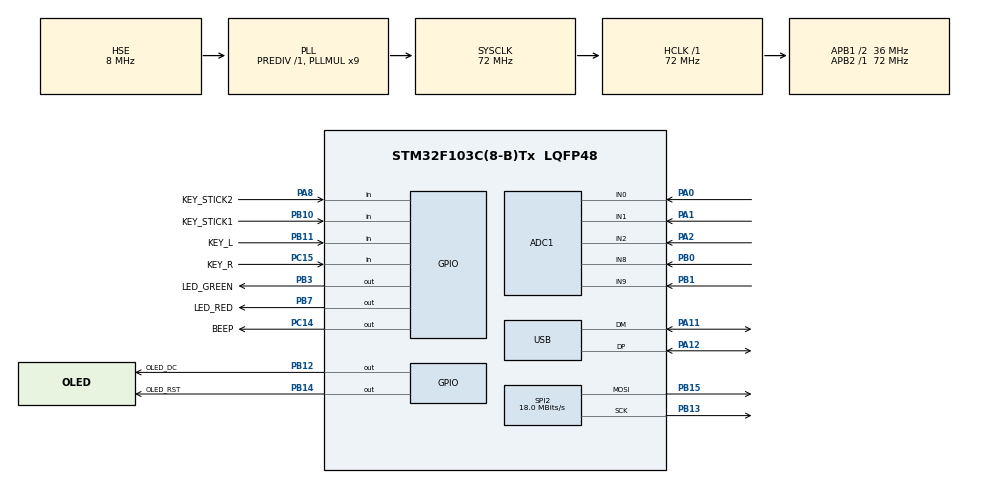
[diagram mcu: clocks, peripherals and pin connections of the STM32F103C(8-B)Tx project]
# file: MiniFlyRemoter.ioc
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ADC1.Channel-0\#ChannelRegularConversion=ADC_CHANNEL_0
ADC1.Channel-1\#ChannelRegularConversion=ADC_CHANNEL_1
ADC1.Channel-2\#ChannelRegularConversion=ADC_CHANNEL_2
ADC1.Channel-3\#ChannelRegularConversion=ADC_CHANNEL_8
ADC1.Channel-4\#ChannelRegularConversion=ADC_CHANNEL_9
ADC1.ContinuousConvMode=DISABLE
ADC1.NbrOfConversion=5
ADC1.NbrOfConversionFlag=1
ADC1.Rank-0\#ChannelRegularConversion=1
ADC1.Rank-1\#ChannelRegularConversion=2
ADC1.Rank-2\#ChannelRegularConversion=3
ADC1.Rank-3\#ChannelRegularConversion=4
ADC1.Rank-4\#ChannelRegularConversion=5
ADC1.SamplingTime-0\#ChannelRegularConversion=ADC_SAMPLETIME_1CYCLE_5
ADC1.SamplingTime-1\#ChannelRegularConversion=ADC_SAMPLETIME_1CYCLE_5
ADC1.SamplingTime-2\#ChannelRegularConversion=ADC_SAMPLETIME_1CYCLE_5
ADC1.SamplingTime-3\#ChannelRegularConversion=ADC_SAMPLETIME_1CYCLE_5
ADC1.SamplingTime-4\#ChannelRegularConversion=ADC_SAMPLETIME_1CYCLE_5
ADC1.master=1
Dma.ADC1.0.Direction=DMA_PERIPH_TO_MEMORY
Dma.ADC1.0.Instance=DMA1_Channel1
Dma.ADC1.0.MemDataAlignment=DMA_MDATAALIGN_HALFWORD
Dma.ADC1.0.MemInc=DMA_MINC_ENABLE
Dma.ADC1.0.Mode=DMA_CIRCULAR
Dma.ADC1.0.PeriphDataAlignment=DMA_PDATAALIGN_HALFWORD
Dma.ADC1.0.PeriphInc=DMA_PINC_DISABLE
Dma.ADC1.0.Priority=DMA_PRIORITY_LOW
Dma.Request0=ADC1
FREERTOS.Tasks01=defaultTask,0,512,StartDefaultTask,Default,NULL,Dynamic,NULL,NULL;KeyScan,0,128,KeyScanTask,Default,NULL,Dynamic,NULL,NULL
Mcu.Family=STM32F1
Mcu.Name=STM32F103C(8-B)Tx
Mcu.Package=LQFP48
NVIC.ADC1_2_IRQn=true\:5\:0\:false\:false\:true\:true\:true\:true\:true
NVIC.DMA1_Channel1_IRQn=true\:5\:0\:false\:false\:true\:true\:false\:true\:true
NVIC.PriorityGroup=NVIC_PRIORITYGROUP_4
NVIC.TIM4_IRQn=true\:15\:0\:false\:false\:true\:false\:false\:true\:true
NVIC.TimeBase=TIM4_IRQn
NVIC.TimeBaseIP=TIM4
NVIC.USB_HP_CAN1_TX_IRQn=true\:5\:0\:false\:false\:true\:true\:true\:true\:true
NVIC.USB_LP_CAN1_RX0_IRQn=true\:5\:0\:false\:false\:true\:true\:false\:true\:true
PA0-WKUP.Signal=ADCx_IN0
PA1.Signal=ADCx_IN1
PA11.Mode=Device
PA11.Signal=USB_DM
PA12.Mode=Device
PA12.Signal=USB_DP
PA13.Mode=Serial_Wire
PA13.Signal=SYS_JTMS-SWDIO
PA14.Mode=Serial_Wire
PA14.Signal=SYS_JTCK-SWCLK
PA2.Signal=ADCx_IN2
PA8.GPIO_Label=KEY_STICK2
PA8.GPIO_PuPd=GPIO_PULLUP
PA8.Signal=GPIO_Input
PB0.Signal=ADCx_IN8
PB1.Signal=ADCx_IN9
PB10.GPIO_Label=KEY_STICK1
PB10.GPIO_PuPd=GPIO_PULLUP
PB10.Signal=GPIO_Input
PB11.GPIO_Label=KEY_L
PB11.GPIO_PuPd=GPIO_PULLUP
PB11.Signal=GPIO_Input
PB12.GPIO_Label=OLED_DC
PB12.GPIO_Speed=GPIO_SPEED_FREQ_HIGH
PB12.Signal=GPIO_Output
PB13.Mode=TX_Only_Simplex_Unidirect_Master
PB13.Signal=SPI2_SCK
PB14.GPIO_Label=OLED_RST
PB14.GPIO_Speed=GPIO_SPEED_FREQ_HIGH
PB14.PinState=GPIO_PIN_SET
PB14.Signal=GPIO_Output
PB15.Mode=TX_Only_Simplex_Unidirect_Master
PB15.Signal=SPI2_MOSI
PB3.GPIO_Label=LED_GREEN
PB3.PinState=GPIO_PIN_SET
PB3.Signal=GPIO_Output
PB7.GPIO_Label=LED_RED
PB7.PinState=GPIO_PIN_SET
PB7.Signal=GPIO_Output
PC14-OSC32_IN.GPIO_Label=BEEP
PC14-OSC32_IN.PinState=GPIO_PIN_RESET
PC14-OSC32_IN.Signal=GPIO_Output
PC15-OSC32_OUT.GPIO_Label=KEY_R
PC15-OSC32_OUT.GPIO_PuPd=GPIO_PULLUP
PC15-OSC32_OUT.Signal=GPIO_Input
PD0-OSC_IN.Mode=HSE-External-Oscillator
PD0-OSC_IN.Signal=RCC_OSC_IN
PD1-OSC_OUT.Mode=HSE-External-Oscillator
PD1-OSC_OUT.Signal=RCC_OSC_OUT
ProjectManager.HeapSize=0x200
ProjectManager.StackSize=0x400
ProjectManager.TargetToolchain=STM32CubeIDE
RCC.ADCPresc=RCC_ADCPCLK2_DIV6
RCC.AHBFreq_Value=72000000
RCC.APB1CLKDivider=RCC_HCLK_DIV2
RCC.APB1Freq_Value=36000000
RCC.APB1TimFreq_Value=72000000
RCC.APB2Freq_Value=72000000
RCC.APB2TimFreq_Value=72000000
RCC.HCLKFreq_Value=72000000
RCC.PLLMUL=RCC_PLL_MUL9
RCC.PLLSourceVirtual=RCC_PLLSOURCE_HSE
RCC.SYSCLKFreq_VALUE=72000000
RCC.SYSCLKSource=RCC_SYSCLKSOURCE_PLLCLK
RCC.USBFreq_Value=48000000
RCC.USBPrescaler=RCC_USBCLKSOURCE_PLL_DIV1_5
SH.ADCx_IN0.0=ADC1_IN0,IN0
SH.ADCx_IN1.0=ADC1_IN1,IN1
SH.ADCx_IN2.0=ADC1_IN2,IN2
SH.ADCx_IN8.0=ADC1_IN8,IN8
SH.ADCx_IN9.0=ADC1_IN9,IN9
SPI2.CalculateBaudRate=18.0 MBits/s
SPI2.Direction=SPI_DIRECTION_2LINES
SPI2.Mode=SPI_MODE_MASTER
SPI2.VirtualType=VM_MASTER
USB_DEVICE.CLASS_NAME_FS=CDC
USB_DEVICE.VirtualMode=Cdc
USB_DEVICE.VirtualModeFS=Cdc_FS
VP_FREERTOS_VS_CMSIS_V1.Mode=CMSIS_V1
VP_SYS_VS_tim4.Mode=TIM4
VP_USB_DEVICE_VS_USB_DEVICE_CDC_FS.Mode=CDC_FS
board=custom

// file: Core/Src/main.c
/* USER CODE BEGIN Header */
/**
  ******************************************************************************
  * @file           : main.c
  * @brief          : Main program body
  ******************************************************************************
  * @attention
  *
  * Copyright (c) 2024 STMicroelectronics.
  * All rights reserved.
  *
  * This software is licensed under terms that can be found in the LICENSE file
  * in the root directory of this software component.
  * If no LICENSE file comes with this software, it is provided AS-IS.
  *
  ******************************************************************************
  */
/* USER CODE END Header */
#include "main.h"
#include "cmsis_os.h"
#include "adc.h"
#include "dma.h"
#include "spi.h"
#include "usb_device.h"
#include "gpio.h"

/* USER CODE BEGIN Includes */

#include "stdio.h"
#include "string.h"
#include "usbd_cdc_if.h"

/* USER CODE END Includes */

void SystemClock_Config(void);
void MX_FREERTOS_Init(void);

int main(void)
{

  /* MCU Configuration--------------------------------------------------------*/

  /* Reset of all peripherals, Initializes the Flash interface and the Systick. */
  HAL_Init();

  /* Configure the system clock */
  SystemClock_Config();

  /* Initialize all configured peripherals */
  MX_GPIO_Init();
  MX_DMA_Init();
  MX_ADC1_Init();
  MX_SPI2_Init();

  /* Call init function for freertos objects (in freertos.c) */
  MX_FREERTOS_Init();

  /* Start scheduler */
  osKernelStart();

  /* We should never get here as control is now taken by the scheduler */
  /* Infinite loop */
  while (1)
  {

  }
}

void SystemClock_Config(void)
{
  RCC_OscInitTypeDef RCC_OscInitStruct = {0};
  RCC_ClkInitTypeDef RCC_ClkInitStruct = {0};
  RCC_PeriphCLKInitTypeDef PeriphClkInit = {0};

  /** Initializes the RCC Oscillators according to the specified parameters
  * in the RCC_OscInitTypeDef structure.
  */
  RCC_OscInitStruct.OscillatorType = RCC_OSCILLATORTYPE_HSE;
  RCC_OscInitStruct.HSEState = RCC_HSE_ON;
  RCC_OscInitStruct.HSEPredivValue = RCC_HSE_PREDIV_DIV1;
  RCC_OscInitStruct.HSIState = RCC_HSI_ON;
  RCC_OscInitStruct.PLL.PLLState = RCC_PLL_ON;
  RCC_OscInitStruct.PLL.PLLSource = RCC_PLLSOURCE_HSE;
  RCC_OscInitStruct.PLL.PLLMUL = RCC_PLL_MUL9;
  if (HAL_RCC_OscConfig(&RCC_OscInitStruct) != HAL_OK)
  {
    Error_Handler();
  }

  /** Initializes the CPU, AHB and APB buses clocks
  */
  RCC_ClkInitStruct.ClockType = RCC_CLOCKTYPE_HCLK|RCC_CLOCKTYPE_SYSCLK
                              |RCC_CLOCKTYPE_PCLK1|RCC_CLOCKTYPE_PCLK2;
  RCC_ClkInitStruct.SYSCLKSource = RCC_SYSCLKSOURCE_PLLCLK;
  RCC_ClkInitStruct.AHBCLKDivider = RCC_SYSCLK_DIV1;
  RCC_ClkInitStruct.APB1CLKDivider = RCC_HCLK_DIV2;
  RCC_ClkInitStruct.APB2CLKDivider = RCC_HCLK_DIV1;

  if (HAL_RCC_ClockConfig(&RCC_ClkInitStruct, FLASH_LATENCY_2) != HAL_OK)
  {
    Error_Handler();
  }
  PeriphClkInit.PeriphClockSelection = RCC_PERIPHCLK_ADC|RCC_PERIPHCLK_USB;
  PeriphClkInit.AdcClockSelection = RCC_ADCPCLK2_DIV6;
  PeriphClkInit.UsbClockSelection = RCC_USBCLKSOURCE_PLL_DIV1_5;
  if (HAL_RCCEx_PeriphCLKConfig(&PeriphClkInit) != HAL_OK)
  {
    Error_Handler();
  }
}

void HAL_TIM_PeriodElapsedCallback(TIM_HandleTypeDef *htim)
{
  if (htim->Instance == TIM4) {
    HAL_IncTick();
  }
}

void Error_Handler(void)
{
  __disable_irq();
  while (1)
  {
  }
}

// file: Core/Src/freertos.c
/* USER CODE BEGIN Header */
/**
  ******************************************************************************
  * File Name          : freertos.c
  * Description        : Code for freertos applications
  ******************************************************************************
  * @attention
  *
  * Copyright (c) 2024 STMicroelectronics.
  * All rights reserved.
  *
  * This software is licensed under terms that can be found in the LICENSE file
  * in the root directory of this software component.
  * If no LICENSE file comes with this software, it is provided AS-IS.
  *
  ******************************************************************************
  */
/* USER CODE END Header */

#include "FreeRTOS.h"
#include "task.h"
#include "main.h"
#include "cmsis_os.h"

/* USER CODE BEGIN Includes */

#include "adc.h"
#include "stdio.h"
#include "string.h"
#include "usbd_cdc_if.h"
#include "spi.h"

#include "drv_oled.h"

/* USER CODE END Includes */

/* USER CODE BEGIN PD */

__attribute__((aligned(32))) uint16_t adc_value[5];

/* USER CODE END PD */

osThreadId defaultTaskHandle;
osThreadId KeyScanHandle;

/* USER CODE BEGIN FunctionPrototypes */

void oled_spi_tx_callback(uint8_t *data, uint32_t len);
void oled_gpio_rst_callback(uint8_t level);
void oled_gpio_dc_callback(uint8_t level);
void oled_delay_callback(uint32_t ms);

/* USER CODE END FunctionPrototypes */

void StartDefaultTask(void const * argument);
void KeyScanTask(void const * argument);

extern void MX_USB_DEVICE_Init(void);
void MX_FREERTOS_Init(void); /* (MISRA C 2004 rule 8.1) */

/* GetIdleTaskMemory prototype (linked to static allocation support) */
void vApplicationGetIdleTaskMemory( StaticTask_t **ppxIdleTaskTCBBuffer, StackType_t **ppxIdleTaskStackBuffer, uint32_t *pulIdleTaskStackSize );

/* USER CODE BEGIN GET_IDLE_TASK_MEMORY */
static StaticTask_t xIdleTaskTCBBuffer;
static StackType_t xIdleStack[configMINIMAL_STACK_SIZE];

void vApplicationGetIdleTaskMemory( StaticTask_t **ppxIdleTaskTCBBuffer, StackType_t **ppxIdleTaskStackBuffer, uint32_t *pulIdleTaskStackSize )
{
  *ppxIdleTaskTCBBuffer = &xIdleTaskTCBBuffer;
  *ppxIdleTaskStackBuffer = &xIdleStack[0];
  *pulIdleTaskStackSize = configMINIMAL_STACK_SIZE;
  /* place for user code */
}
/* USER CODE END GET_IDLE_TASK_MEMORY */

void MX_FREERTOS_Init(void) {

  /* Create the thread(s) */
  /* definition and creation of defaultTask */
  osThreadDef(defaultTask, StartDefaultTask, osPriorityNormal, 0, 512);
  defaultTaskHandle = osThreadCreate(osThread(defaultTask), NULL);

  /* definition and creation of KeyScan */
  osThreadDef(KeyScan, KeyScanTask, osPriorityNormal, 0, 128);
  KeyScanHandle = osThreadCreate(osThread(KeyScan), NULL);

}

void StartDefaultTask(void const * argument)
{
  /* init code for USB_DEVICE */
  MX_USB_DEVICE_Init();
  /* USER CODE BEGIN StartDefaultTask */

    drv_oled_init(oled_spi_tx_callback, oled_gpio_rst_callback, oled_gpio_dc_callback, oled_delay_callback);

//    oled_fill(10, 10, 20, 20, 1);
//
//    oled_draw_char(30, 30, 'B', OLED_FONT_SIZE_1224);

//    oled_draw_number(10, 20, 123, 5, OLED_FONT_SIZE_0612);

    oled_draw_string(10, 20, "Hello World", OLED_FONT_SIZE_0612);

    oled_draw_string(10, 40, "Xiong Tao", OLED_FONT_SIZE_0612);

    oled_refresh_gram();

  int cnt = 0;

  /* Infinite loop */
  for(;;)
  {
      char buff[64];
      snprintf(buff, 64, "adc_value:%d %d %d %d %d\r\n", adc_value[0], adc_value[1], adc_value[2], adc_value[3], adc_value[4]);
//      while (USBD_BUSY == CDC_Transmit_FS(buff, strlen(buff))) {}

      HAL_ADC_Start_DMA(&hadc1, adc_value, 5);

      HAL_GPIO_TogglePin(LED_GREEN_GPIO_Port, LED_GREEN_Pin);

    osDelay(100);
  }
  /* USER CODE END StartDefaultTask */
}

void KeyScanTask(void const * argument)
{
  /* USER CODE BEGIN KeyScanTask */
  /* Infinite loop */
  for(;;)
  {
      int key_left = !HAL_GPIO_ReadPin(KEY_L_GPIO_Port, KEY_L_Pin);
      int key_right = !HAL_GPIO_ReadPin(KEY_R_GPIO_Port, KEY_R_Pin);
      int key_stick1 = !HAL_GPIO_ReadPin(KEY_STICK1_GPIO_Port, KEY_STICK1_Pin);
      int key_stick2 = !HAL_GPIO_ReadPin(KEY_STICK2_GPIO_Port, KEY_STICK2_Pin);

      if (key_left || key_right || key_stick1 || key_stick2) {
          HAL_GPIO_WritePin(BEEP_GPIO_Port, BEEP_Pin, GPIO_PIN_SET);
      } else {
          HAL_GPIO_WritePin(BEEP_GPIO_Port, BEEP_Pin, GPIO_PIN_RESET);
      }

    osDelay(1);
  }
  /* USER CODE END KeyScanTask */
}

/* USER CODE BEGIN Application */

void HAL_ADC_ConvCpltCallback(ADC_HandleTypeDef* hadc)
{
    if (hadc->Instance == ADC1) {

        HAL_GPIO_TogglePin(LED_RED_GPIO_Port, LED_RED_Pin);
    }
}

void oled_spi_tx_callback(uint8_t *data, uint32_t len)
{
    HAL_SPI_Transmit(&hspi2, data, len, 100);
}

void oled_gpio_rst_callback(uint8_t level)
{
    HAL_GPIO_WritePin(OLED_RST_GPIO_Port, OLED_RST_Pin, level);
}

void oled_gpio_dc_callback(uint8_t level)
{
    HAL_GPIO_WritePin(OLED_DC_GPIO_Port, OLED_DC_Pin, level);
}

void oled_delay_callback(uint32_t ms)
{
    osDelay(pdMS_TO_TICKS(ms));
}

/* USER CODE END Application */
